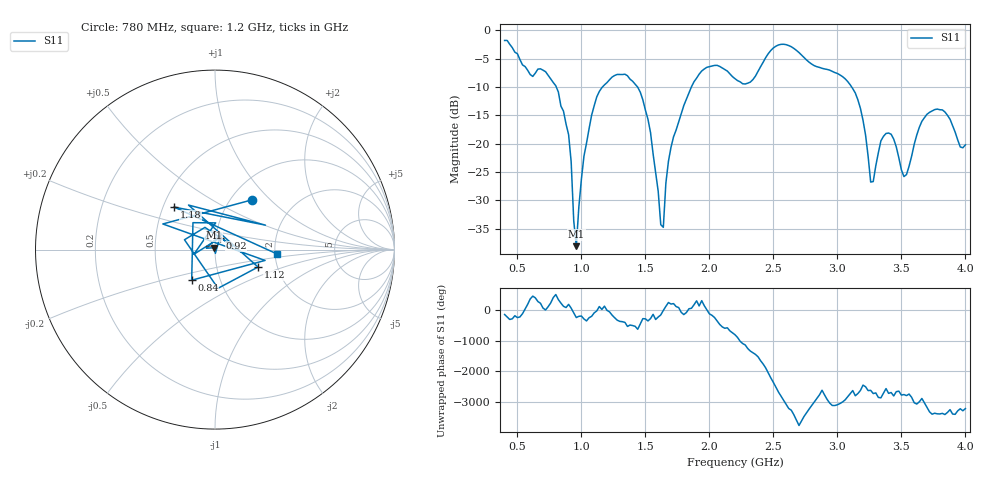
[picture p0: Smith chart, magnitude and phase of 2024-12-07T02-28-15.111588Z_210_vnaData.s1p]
!Created with skrf (http://scikit-rf.org).
# Hz S RI R 50.0
!freq ReS11 ImS11
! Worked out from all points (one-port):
!   181 points, 400 MHz to 4 GHz, reference 50 ohm
!   lowest |S11| = -38.1 dB at 960 MHz (marker M1), VSWR 1.03, Z = 49.3 + j1.05 ohm
!   |S11| at or under -10 dB: 803.8 MHz to 1.164 GHz (360.7 MHz wide, 36.7 % of centre); 1.439 GHz to 1.859 GHz (420.6 MHz wide, 25.5 % of centre); 3.111 GHz to end of sweep
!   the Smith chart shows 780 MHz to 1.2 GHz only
!   S11 on the Smith chart (normalised r, x): 780 MHz: 1.25, +0.79; 840 MHz: 0.73, -0.26; 920 MHz: 1.04, +0.13; 1.12 GHz: 1.59, -0.33; 1.18 GHz: 0.57, +0.30; 1.2 GHz: 2.05, -0.11
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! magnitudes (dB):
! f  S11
! 400 MHz  -1.8
! 780 MHz  -9.2
! 840 MHz  -13.4
! 860 MHz  -14.3
! 920 MHz  -23.2
! 940 MHz  -33.6
! 960 MHz  -38.1
! 1.02 GHz  -22.2
! 1.12 GHz  -11.7
! 1.18 GHz  -9.6
! 1.2 GHz  -9.2
! 1.3 GHz  -7.8
! 1.48 GHz  -12.3
! 1.64 GHz  -34.7
! 1.68 GHz  -23.1
! 1.76 GHz  -16.1
! 1.96 GHz  -6.8
! 2.2 GHz  -8.5
! 2.66 GHz  -3.2
! 3.1 GHz  -9.6
! 3.2 GHz  -15.9
! 3.26 GHz  -26.8
! 3.38 GHz  -18.2
! 3.52 GHz  -25.8
! 3.56 GHz  -24.0
! 3.66 GHz  -16.1
! 3.76 GHz  -14.0
! 4 GHz  -20.2
